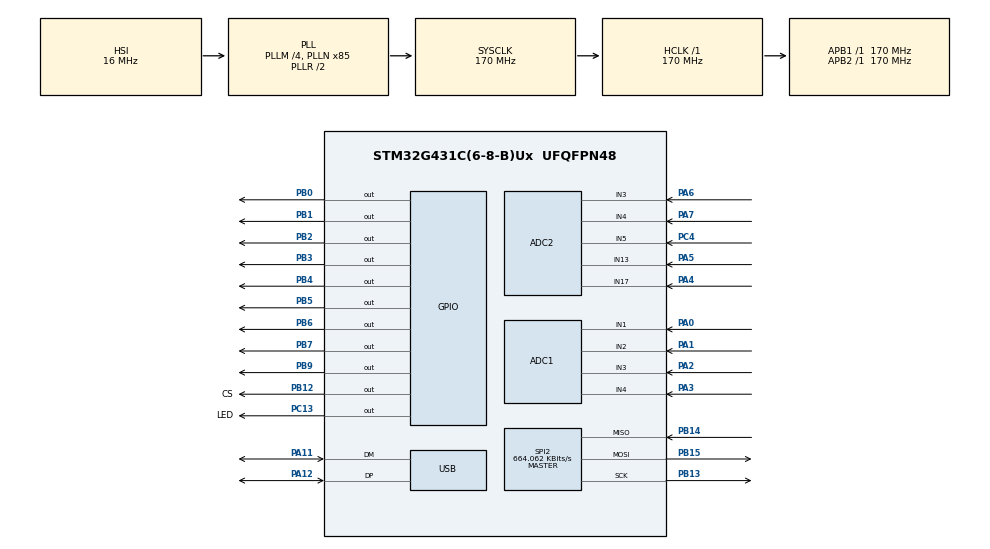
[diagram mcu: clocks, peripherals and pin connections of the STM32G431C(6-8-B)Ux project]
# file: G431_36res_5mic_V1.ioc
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ADC1.Channel-0\#ChannelRegularConversion=ADC_CHANNEL_4
ADC1.Channel-1\#ChannelRegularConversion=ADC_CHANNEL_3
ADC1.Channel-2\#ChannelRegularConversion=ADC_CHANNEL_2
ADC1.Channel-3\#ChannelRegularConversion=ADC_CHANNEL_1
ADC1.ContinuousConvMode=ENABLE
ADC1.DMAContinuousRequests=ENABLE
ADC1.ExternalTrigConv=ADC_SOFTWARE_START
ADC1.ExternalTrigConvEdge=ADC_EXTERNALTRIGCONVEDGE_NONE
ADC1.NbrOfConversion=4
ADC1.NbrOfConversionFlag=1
ADC1.OffsetNumber-0\#ChannelRegularConversion=ADC_OFFSET_NONE
ADC1.OffsetNumber-1\#ChannelRegularConversion=ADC_OFFSET_NONE
ADC1.OffsetNumber-2\#ChannelRegularConversion=ADC_OFFSET_NONE
ADC1.OffsetNumber-3\#ChannelRegularConversion=ADC_OFFSET_NONE
ADC1.Rank-0\#ChannelRegularConversion=1
ADC1.Rank-1\#ChannelRegularConversion=2
ADC1.Rank-2\#ChannelRegularConversion=3
ADC1.Rank-3\#ChannelRegularConversion=4
ADC1.SamplingTime-0\#ChannelRegularConversion=ADC_SAMPLETIME_92CYCLES_5
ADC1.SamplingTime-1\#ChannelRegularConversion=ADC_SAMPLETIME_92CYCLES_5
ADC1.SamplingTime-2\#ChannelRegularConversion=ADC_SAMPLETIME_92CYCLES_5
ADC1.SamplingTime-3\#ChannelRegularConversion=ADC_SAMPLETIME_92CYCLES_5
ADC1.master=1
ADC2.Channel-1\#ChannelRegularConversion=ADC_CHANNEL_4
ADC2.Channel-2\#ChannelRegularConversion=ADC_CHANNEL_17
ADC2.Channel-3\#ChannelRegularConversion=ADC_CHANNEL_3
ADC2.Channel-4\#ChannelRegularConversion=ADC_CHANNEL_5
ADC2.Channel-5\#ChannelRegularConversion=ADC_CHANNEL_13
ADC2.ContinuousConvMode=DISABLE
ADC2.DMAContinuousRequests=ENABLE
ADC2.ExternalTrigConv=ADC_EXTERNALTRIG_T1_CC3
ADC2.NbrOfConversion=5
ADC2.NbrOfConversionFlag=1
ADC2.OffsetNumber-1\#ChannelRegularConversion=ADC_OFFSET_NONE
ADC2.OffsetNumber-2\#ChannelRegularConversion=ADC_OFFSET_NONE
ADC2.OffsetNumber-3\#ChannelRegularConversion=ADC_OFFSET_NONE
ADC2.OffsetNumber-4\#ChannelRegularConversion=ADC_OFFSET_NONE
ADC2.OffsetNumber-5\#ChannelRegularConversion=ADC_OFFSET_NONE
ADC2.Rank-1\#ChannelRegularConversion=1
ADC2.Rank-2\#ChannelRegularConversion=2
ADC2.Rank-3\#ChannelRegularConversion=3
ADC2.Rank-4\#ChannelRegularConversion=4
ADC2.Rank-5\#ChannelRegularConversion=5
ADC2.SamplingTime-1\#ChannelRegularConversion=ADC_SAMPLETIME_640CYCLES_5
ADC2.SamplingTime-2\#ChannelRegularConversion=ADC_SAMPLETIME_640CYCLES_5
ADC2.SamplingTime-3\#ChannelRegularConversion=ADC_SAMPLETIME_640CYCLES_5
ADC2.SamplingTime-4\#ChannelRegularConversion=ADC_SAMPLETIME_640CYCLES_5
ADC2.SamplingTime-5\#ChannelRegularConversion=ADC_SAMPLETIME_640CYCLES_5
Dma.ADC1.1.Direction=DMA_PERIPH_TO_MEMORY
Dma.ADC1.1.EventEnable=DISABLE
Dma.ADC1.1.Instance=DMA2_Channel1
Dma.ADC1.1.MemDataAlignment=DMA_MDATAALIGN_HALFWORD
Dma.ADC1.1.MemInc=DMA_MINC_ENABLE
Dma.ADC1.1.Mode=DMA_CIRCULAR
Dma.ADC1.1.PeriphDataAlignment=DMA_PDATAALIGN_HALFWORD
Dma.ADC1.1.PeriphInc=DMA_PINC_DISABLE
Dma.ADC1.1.Polarity=HAL_DMAMUX_REQ_GEN_RISING
Dma.ADC1.1.Priority=DMA_PRIORITY_LOW
Dma.ADC1.1.RequestNumber=1
Dma.ADC1.1.SignalID=NONE
Dma.ADC1.1.SyncEnable=DISABLE
Dma.ADC1.1.SyncPolarity=HAL_DMAMUX_SYNC_NO_EVENT
Dma.ADC1.1.SyncRequestNumber=1
Dma.ADC1.1.SyncSignalID=NONE
Dma.ADC2.0.Direction=DMA_PERIPH_TO_MEMORY
Dma.ADC2.0.EventEnable=DISABLE
Dma.ADC2.0.Instance=DMA1_Channel1
Dma.ADC2.0.MemDataAlignment=DMA_MDATAALIGN_HALFWORD
Dma.ADC2.0.MemInc=DMA_MINC_ENABLE
Dma.ADC2.0.Mode=DMA_CIRCULAR
Dma.ADC2.0.PeriphDataAlignment=DMA_PDATAALIGN_HALFWORD
Dma.ADC2.0.PeriphInc=DMA_PINC_DISABLE
Dma.ADC2.0.Polarity=HAL_DMAMUX_REQ_GEN_RISING
Dma.ADC2.0.Priority=DMA_PRIORITY_LOW
Dma.ADC2.0.RequestNumber=1
Dma.ADC2.0.SignalID=NONE
Dma.ADC2.0.SyncEnable=DISABLE
Dma.ADC2.0.SyncPolarity=HAL_DMAMUX_SYNC_NO_EVENT
Dma.ADC2.0.SyncRequestNumber=1
Dma.ADC2.0.SyncSignalID=NONE
Dma.MEMTOMEM.2.Direction=DMA_MEMORY_TO_MEMORY
Dma.MEMTOMEM.2.EventEnable=DISABLE
Dma.MEMTOMEM.2.Instance=DMA1_Channel2
Dma.MEMTOMEM.2.MemDataAlignment=DMA_MDATAALIGN_HALFWORD
Dma.MEMTOMEM.2.MemInc=DMA_MINC_ENABLE
Dma.MEMTOMEM.2.Mode=DMA_NORMAL
Dma.MEMTOMEM.2.PeriphDataAlignment=DMA_PDATAALIGN_HALFWORD
Dma.MEMTOMEM.2.PeriphInc=DMA_PINC_ENABLE
Dma.MEMTOMEM.2.Polarity=HAL_DMAMUX_REQ_GEN_RISING
Dma.MEMTOMEM.2.Priority=DMA_PRIORITY_LOW
Dma.MEMTOMEM.2.RequestNumber=1
Dma.MEMTOMEM.2.SignalID=NONE
Dma.MEMTOMEM.2.SyncEnable=DISABLE
Dma.MEMTOMEM.2.SyncPolarity=HAL_DMAMUX_SYNC_NO_EVENT
Dma.MEMTOMEM.2.SyncRequestNumber=1
Dma.MEMTOMEM.2.SyncSignalID=NONE
Dma.Request0=ADC2
Dma.Request1=ADC1
Dma.Request2=MEMTOMEM
Dma.Request3=TIM1_CH1
Dma.TIM1_CH1.3.Direction=DMA_MEMORY_TO_PERIPH
Dma.TIM1_CH1.3.EventEnable=DISABLE
Dma.TIM1_CH1.3.Instance=DMA1_Channel3
Dma.TIM1_CH1.3.MemDataAlignment=DMA_MDATAALIGN_HALFWORD
Dma.TIM1_CH1.3.MemInc=DMA_MINC_ENABLE
Dma.TIM1_CH1.3.Mode=DMA_CIRCULAR
Dma.TIM1_CH1.3.PeriphDataAlignment=DMA_PDATAALIGN_HALFWORD
Dma.TIM1_CH1.3.PeriphInc=DMA_PINC_DISABLE
Dma.TIM1_CH1.3.Polarity=HAL_DMAMUX_REQ_GEN_RISING
Dma.TIM1_CH1.3.Priority=DMA_PRIORITY_LOW
Dma.TIM1_CH1.3.RequestNumber=1
Dma.TIM1_CH1.3.SignalID=NONE
Dma.TIM1_CH1.3.SyncEnable=DISABLE
Dma.TIM1_CH1.3.SyncPolarity=HAL_DMAMUX_SYNC_NO_EVENT
Dma.TIM1_CH1.3.SyncRequestNumber=1
Dma.TIM1_CH1.3.SyncSignalID=NONE
FREERTOS.BinarySemaphores01=usb_tx_BinarySem,Dynamic,NULL
FREERTOS.Events01=adc_dma_Event,Dynamic,NULL
FREERTOS.Tasks01=defaultTask,24,512,StartDefaultTask,Default,NULL,Dynamic,NULL,NULL;ledTask,8,128,LEDTask,Default,NULL,Dynamic,NULL,NULL;resTask,32,128,ResTask,Default,NULL,Dynamic,NULL,NULL;micTask,33,128,MicTask,Default,NULL,Dynamic,NULL,NULL
FREERTOS.configTOTAL_HEAP_SIZE=5120
Mcu.Family=STM32G4
Mcu.Name=STM32G431C(6-8-B)Ux
Mcu.Package=UFQFPN48
NVIC.DMA1_Channel1_IRQn=true\:5\:0\:false\:false\:true\:true\:false\:true\:true
NVIC.PriorityGroup=NVIC_PRIORITYGROUP_4
NVIC.TIM1_TRG_COM_TIM17_IRQn=true\:5\:0\:false\:false\:true\:false\:false\:true\:true
NVIC.TimeBase=TIM1_TRG_COM_TIM17_IRQn
NVIC.TimeBaseIP=TIM17
NVIC.USB_LP_IRQn=true\:5\:0\:false\:false\:true\:true\:false\:true\:true
PA0.Mode=IN1-Single-Ended
PA0.Signal=ADC1_IN1
PA1.Mode=IN2-Single-Ended
PA1.Signal=ADC1_IN2
PA11.Mode=Device
PA11.Signal=USB_DM
PA12.Mode=Device
PA12.Signal=USB_DP
PA13.Mode=Serial_Wire
PA13.Signal=SYS_JTMS-SWDIO
PA14.Mode=Serial_Wire
PA14.Signal=SYS_JTCK-SWCLK
PA2.Mode=IN3-Single-Ended
PA2.Signal=ADC1_IN3
PA3.Mode=IN4-Single-Ended
PA3.Signal=ADC1_IN4
PA4.Mode=IN17-Single-Ended
PA4.Signal=ADC2_IN17
PA5.Mode=IN13-Single-Ended
PA5.Signal=ADC2_IN13
PA6.Mode=IN3-Single-Ended
PA6.Signal=ADC2_IN3
PA7.Mode=IN4-Single-Ended
PA7.Signal=ADC2_IN4
PB0.GPIO_ModeDefaultOutputPP=GPIO_MODE_OUTPUT_PP
PB0.GPIO_PuPd=GPIO_PULLUP
PB0.GPIO_Speed=GPIO_SPEED_FREQ_VERY_HIGH
PB0.PinState=GPIO_PIN_SET
PB0.Signal=GPIO_Output
PB1.GPIO_ModeDefaultOutputPP=GPIO_MODE_OUTPUT_PP
PB1.GPIO_PuPd=GPIO_PULLUP
PB1.GPIO_Speed=GPIO_SPEED_FREQ_VERY_HIGH
PB1.PinState=GPIO_PIN_SET
PB1.Signal=GPIO_Output
PB12.GPIO_Label=CS
PB12.GPIO_PuPd=GPIO_PULLUP
PB12.GPIO_Speed=GPIO_SPEED_FREQ_VERY_HIGH
PB12.PinState=GPIO_PIN_SET
PB12.Signal=GPIO_Output
PB13.Mode=Full_Duplex_Master
PB13.Signal=SPI2_SCK
PB14.Mode=Full_Duplex_Master
PB14.Signal=SPI2_MISO
PB15.Mode=Full_Duplex_Master
PB15.Signal=SPI2_MOSI
PB2.GPIO_ModeDefaultOutputPP=GPIO_MODE_OUTPUT_PP
PB2.GPIO_PuPd=GPIO_PULLUP
PB2.GPIO_Speed=GPIO_SPEED_FREQ_VERY_HIGH
PB2.PinState=GPIO_PIN_SET
PB2.Signal=GPIO_Output
PB3.GPIO_ModeDefaultOutputPP=GPIO_MODE_OUTPUT_PP
PB3.GPIO_PuPd=GPIO_PULLUP
PB3.GPIO_Speed=GPIO_SPEED_FREQ_VERY_HIGH
PB3.PinState=GPIO_PIN_SET
PB3.Signal=GPIO_Output
PB4.GPIO_ModeDefaultOutputPP=GPIO_MODE_OUTPUT_PP
PB4.GPIO_PuPd=GPIO_PULLUP
PB4.GPIO_Speed=GPIO_SPEED_FREQ_VERY_HIGH
PB4.PinState=GPIO_PIN_SET
PB4.Signal=GPIO_Output
PB5.GPIO_ModeDefaultOutputPP=GPIO_MODE_OUTPUT_PP
PB5.GPIO_PuPd=GPIO_PULLUP
PB5.GPIO_Speed=GPIO_SPEED_FREQ_VERY_HIGH
PB5.PinState=GPIO_PIN_SET
PB5.Signal=GPIO_Output
PB6.GPIO_ModeDefaultOutputPP=GPIO_MODE_OUTPUT_PP
PB6.GPIO_PuPd=GPIO_PULLUP
PB6.GPIO_Speed=GPIO_SPEED_FREQ_VERY_HIGH
PB6.PinState=GPIO_PIN_SET
PB6.Signal=GPIO_Output
PB7.GPIO_ModeDefaultOutputPP=GPIO_MODE_OUTPUT_PP
PB7.GPIO_PuPd=GPIO_PULLUP
PB7.GPIO_Speed=GPIO_SPEED_FREQ_VERY_HIGH
PB7.PinState=GPIO_PIN_SET
PB7.Signal=GPIO_Output
PB9.GPIO_ModeDefaultOutputPP=GPIO_MODE_OUTPUT_PP
PB9.GPIO_PuPd=GPIO_PULLUP
PB9.GPIO_Speed=GPIO_SPEED_FREQ_VERY_HIGH
PB9.PinState=GPIO_PIN_SET
PB9.Signal=GPIO_Output
PC13.GPIO_Label=LED
PC13.GPIO_PuPd=GPIO_PULLUP
PC13.PinState=GPIO_PIN_SET
PC13.Signal=GPIO_Output
PC4.Mode=IN5-Single-Ended
PC4.Signal=ADC2_IN5
PF0-OSC_IN.Mode=HSE-External-Oscillator
PF0-OSC_IN.Signal=RCC_OSC_IN
PF1-OSC_OUT.Mode=HSE-External-Oscillator
PF1-OSC_OUT.Signal=RCC_OSC_OUT
ProjectManager.HeapSize=0x100
ProjectManager.StackSize=0x1000
ProjectManager.TargetToolchain=MDK-ARM V5.32
RCC.ADC12Freq_Value=170000000
RCC.AHBFreq_Value=170000000
RCC.APB1Freq_Value=170000000
RCC.APB1TimFreq_Value=170000000
RCC.APB2Freq_Value=170000000
RCC.APB2TimFreq_Value=170000000
RCC.CK48CLockSelection=RCC_USBCLKSOURCE_HSI48
RCC.CortexFreq_Value=170000000
RCC.EXTERNAL_CLOCK_VALUE=12288000
RCC.HCLKFreq_Value=170000000
RCC.HSE_VALUE=8000000
RCC.HSI48_VALUE=48000000
RCC.HSI_VALUE=16000000
RCC.LSE_VALUE=32768
RCC.PLLM=RCC_PLLM_DIV4
RCC.PLLN=85
RCC.SYSCLKFreq_VALUE=170000000
RCC.SYSCLKSource=RCC_SYSCLKSOURCE_PLLCLK
RCC.USBFreq_Value=48000000
RCC.VCOOutputFreq_Value=340000000
SPI2.BaudRatePrescaler=SPI_BAUDRATEPRESCALER_256
SPI2.CalculateBaudRate=664.062 KBits/s
SPI2.DataSize=SPI_DATASIZE_8BIT
SPI2.Direction=SPI_DIRECTION_2LINES
SPI2.Mode=SPI_MODE_MASTER
SPI2.VirtualType=VM_MASTER
TIM1.AutoReloadPreload=TIM_AUTORELOAD_PRELOAD_ENABLE
TIM1.Channel-PWM\ Generation1\ No\ Output=TIM_CHANNEL_1
TIM1.Channel-PWM\ Generation2\ No\ Output=TIM_CHANNEL_2
TIM1.Channel-PWM\ Generation3\ No\ Output=TIM_CHANNEL_3
TIM1.PeriodNoDither=99
TIM1.Prescaler=167
TIM1.PulseNoDither_1=5
TIM1.PulseNoDither_2=60
TIM1.PulseNoDither_3=50
TIM1.TIM_MasterOutputTrigger=TIM_TRGO_OC1REF
TIM1.TIM_MasterOutputTrigger2=TIM_TRGO2_OC2REF
TIM6.PeriodNoDither=99
TIM6.Prescaler=169
TIM6.TIM_MasterOutputTrigger=TIM_TRGO_UPDATE
TIM7.Prescaler=169
USB_DEVICE.CLASS_NAME_FS=CDC
USB_DEVICE.VirtualMode=Cdc
USB_DEVICE.VirtualModeFS=Cdc_FS
VP_FREERTOS_VS_CMSIS_V2.Mode=CMSIS_V2
VP_SYS_VS_DBSignals.Mode=DisableDeadBatterySignals
VP_SYS_VS_tim17.Mode=TIM17
VP_TIM1_VS_ClockSourceINT.Mode=Internal
VP_TIM1_VS_no_output1.Mode=PWM Generation1 No Output
VP_TIM1_VS_no_output2.Mode=PWM Generation2 No Output
VP_TIM1_VS_no_output3.Mode=PWM Generation3 No Output
VP_TIM6_VS_ClockSourceINT.Mode=Enable_Timer
VP_TIM7_VS_ClockSourceINT.Mode=Enable_Timer
VP_USB_DEVICE_VS_USB_DEVICE_CDC_FS.Mode=CDC_FS
board=custom

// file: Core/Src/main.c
/* USER CODE BEGIN Header */
/**
  ******************************************************************************
  * @file           : main.c
  * @brief          : Main program body
  ******************************************************************************
  * @attention
  *
  * Copyright (c) 2025 STMicroelectronics.
  * All rights reserved.
  *
  * This software is licensed under terms that can be found in the LICENSE file
  * in the root directory of this software component.
  * If no LICENSE file comes with this software, it is provided AS-IS.
  *
  ******************************************************************************
  */
/* USER CODE END Header */
#include "main.h"
#include "cmsis_os.h"
#include "adc.h"
#include "dma.h"
#include "spi.h"
#include "tim.h"
#include "usb_device.h"
#include "gpio.h"

void SystemClock_Config(void);
void MX_FREERTOS_Init(void);

int main(void)
{

  /* MCU Configuration--------------------------------------------------------*/

  /* Reset of all peripherals, Initializes the Flash interface and the Systick. */
  HAL_Init();

  /* Configure the system clock */
  SystemClock_Config();

  /* Initialize all configured peripherals */
  MX_GPIO_Init();
  MX_DMA_Init();
  MX_USB_Device_Init();
  MX_TIM7_Init();
  MX_SPI2_Init();
  MX_ADC1_Init();
  MX_ADC2_Init();
  MX_TIM6_Init();
  MX_TIM1_Init();
  /* USER CODE BEGIN 2 */
  LL_TIM_SetCounter(TIM7, 0);
//	LL_TIM_EnableIT_UPDATE(TIM7);//start TIM7 IRQ
	LL_TIM_EnableCounter(TIM7);//Enable TIM7
  /* USER CODE END 2 */

  /* Init scheduler */
  osKernelInitialize();  /* Call init function for freertos objects (in freertos.c) */
  MX_FREERTOS_Init();

  /* Start scheduler */
  osKernelStart();

  /* We should never get here as control is now taken by the scheduler */
  /* Infinite loop */
  while (1)
  {

  }
}

void SystemClock_Config(void)
{
  RCC_OscInitTypeDef RCC_OscInitStruct = {0};
  RCC_ClkInitTypeDef RCC_ClkInitStruct = {0};

  /** Configure the main internal regulator output voltage
  */
  HAL_PWREx_ControlVoltageScaling(PWR_REGULATOR_VOLTAGE_SCALE1_BOOST);

  /** Initializes the RCC Oscillators according to the specified parameters
  * in the RCC_OscInitTypeDef structure.
  */
  RCC_OscInitStruct.OscillatorType = RCC_OSCILLATORTYPE_HSI|RCC_OSCILLATORTYPE_HSI48;
  RCC_OscInitStruct.HSIState = RCC_HSI_ON;
  RCC_OscInitStruct.HSICalibrationValue = RCC_HSICALIBRATION_DEFAULT;
  RCC_OscInitStruct.HSI48State = RCC_HSI48_ON;
  RCC_OscInitStruct.PLL.PLLState = RCC_PLL_ON;
  RCC_OscInitStruct.PLL.PLLSource = RCC_PLLSOURCE_HSI;
  RCC_OscInitStruct.PLL.PLLM = RCC_PLLM_DIV4;
  RCC_OscInitStruct.PLL.PLLN = 85;
  RCC_OscInitStruct.PLL.PLLP = RCC_PLLP_DIV2;
  RCC_OscInitStruct.PLL.PLLQ = RCC_PLLQ_DIV2;
  RCC_OscInitStruct.PLL.PLLR = RCC_PLLR_DIV2;
  if (HAL_RCC_OscConfig(&RCC_OscInitStruct) != HAL_OK)
  {
    Error_Handler();
  }

  /** Initializes the CPU, AHB and APB buses clocks
  */
  RCC_ClkInitStruct.ClockType = RCC_CLOCKTYPE_HCLK|RCC_CLOCKTYPE_SYSCLK
                              |RCC_CLOCKTYPE_PCLK1|RCC_CLOCKTYPE_PCLK2;
  RCC_ClkInitStruct.SYSCLKSource = RCC_SYSCLKSOURCE_PLLCLK;
  RCC_ClkInitStruct.AHBCLKDivider = RCC_SYSCLK_DIV1;
  RCC_ClkInitStruct.APB1CLKDivider = RCC_HCLK_DIV1;
  RCC_ClkInitStruct.APB2CLKDivider = RCC_HCLK_DIV1;

  if (HAL_RCC_ClockConfig(&RCC_ClkInitStruct, FLASH_LATENCY_4) != HAL_OK)
  {
    Error_Handler();
  }
}

void HAL_TIM_PeriodElapsedCallback(TIM_HandleTypeDef *htim)
{
  if (htim->Instance == TIM17) {
    HAL_IncTick();
  }
}

void Error_Handler(void)
{
  __disable_irq();
  while (1)
  {
  }
}

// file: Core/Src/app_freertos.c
/* USER CODE BEGIN Header */
/**
  ******************************************************************************
  * File Name          : app_freertos.c
  * Description        : Code for freertos applications
  ******************************************************************************
  * @attention
  *
  * Copyright (c) 2025 STMicroelectronics.
  * All rights reserved.
  *
  * This software is licensed under terms that can be found in the LICENSE file
  * in the root directory of this software component.
  * If no LICENSE file comes with this software, it is provided AS-IS.
  *
  ******************************************************************************
  */
/* USER CODE END Header */

#include "FreeRTOS.h"
#include "task.h"
#include "main.h"
#include "cmsis_os.h"

/* USER CODE BEGIN Includes */
#include "event_groups.h"
/* USER CODE END Includes */

/* Definitions for defaultTask */
osThreadId_t defaultTaskHandle;
const osThreadAttr_t defaultTask_attributes = {
  .name = "defaultTask",
  .priority = (osPriority_t) osPriorityNormal,
  .stack_size = 512 * 4
};
/* Definitions for ledTask */
osThreadId_t ledTaskHandle;
const osThreadAttr_t ledTask_attributes = {
  .name = "ledTask",
  .priority = (osPriority_t) osPriorityLow,
  .stack_size = 128 * 4
};
/* Definitions for resTask */
osThreadId_t resTaskHandle;
const osThreadAttr_t resTask_attributes = {
  .name = "resTask",
  .priority = (osPriority_t) osPriorityAboveNormal,
  .stack_size = 128 * 4
};
/* Definitions for micTask */
osThreadId_t micTaskHandle;
const osThreadAttr_t micTask_attributes = {
  .name = "micTask",
  .priority = (osPriority_t) osPriorityAboveNormal1,
  .stack_size = 128 * 4
};
/* Definitions for usb_tx_BinarySem */
osSemaphoreId_t usb_tx_BinarySemHandle;
const osSemaphoreAttr_t usb_tx_BinarySem_attributes = {
  .name = "usb_tx_BinarySem"
};
/* Definitions for adc_dma_Event */
osEventFlagsId_t adc_dma_EventHandle;
const osEventFlagsAttr_t adc_dma_Event_attributes = {
  .name = "adc_dma_Event"
};

void StartDefaultTask(void *argument);
void LEDTask(void *argument);
void ResTask(void *argument);
void MicTask(void *argument);

void MX_FREERTOS_Init(void); /* (MISRA C 2004 rule 8.1) */

void MX_FREERTOS_Init(void) {

  /* Create the semaphores(s) */
  /* creation of usb_tx_BinarySem */
  usb_tx_BinarySemHandle = osSemaphoreNew(1, 1, &usb_tx_BinarySem_attributes);

  /* USER CODE BEGIN RTOS_SEMAPHORES */
	if (usb_tx_BinarySemHandle != NULL) {
    osSemaphoreAcquire(usb_tx_BinarySemHandle, 0);  // 超时0，立即尝试获取
  }
  /* add semaphores, ... */
  /* USER CODE END RTOS_SEMAPHORES */

  /* Create the thread(s) */
  /* creation of defaultTask */
  defaultTaskHandle = osThreadNew(StartDefaultTask, NULL, &defaultTask_attributes);

  /* creation of ledTask */
  ledTaskHandle = osThreadNew(LEDTask, NULL, &ledTask_attributes);

  /* creation of resTask */
  resTaskHandle = osThreadNew(ResTask, NULL, &resTask_attributes);

  /* creation of micTask */
  micTaskHandle = osThreadNew(MicTask, NULL, &micTask_attributes);

  /* Create the event(s) */
  /* creation of adc_dma_Event */
  adc_dma_EventHandle = osEventFlagsNew(&adc_dma_Event_attributes);

}

/* USER CODE BEGIN Header_StartDefaultTask */
/**
  * @brief  Function implementing the defaultTask thread.
  * @param  argument: Not used
  * @retval None
  */
// 事件标志宏定义（5个ADC，每个有半满和全满事件）
#define EVENT_MIC_DMA_HALF  (0x0001UL)  // ADC2半满
#define EVENT_MIC_DMA_FULL  (0x0002UL)  // ADC2全满
#define EVENT_RES_DMA_HALF  (0x0004UL)  // ADC1半满
#define EVENT_RES_DMA_FULL  (0x0008UL)  // ADC1全满

#define FRAME_HEAD_CNT 2    // 帧头数量
#define FRAME_TAIL_CNT 2    // 帧尾数量

Sample_total_Data_Union sample_buf[2];

//#define PACK_FRAME 100
uint16_t mic_value[1000];//500 * 2

volatile Word_union* mic_send_p= sample_buf[0].mic_data;
volatile Word_union* mic_store_p= sample_buf[1].mic_data;

uint16_t res_value_dma[720];//360 * 2
uint16_t res_value[36];
volatile Word_union* res_send_p= sample_buf[0].res_data;
volatile Word_union* res_store_p= sample_buf[1].res_data;

uint8_t frame_head[4]={0x55,0xAA,0xBB,0xCC};
uint8_t frame_tail[4]={0xAA,0x55,0x66,0x77};

// 模拟开关控制值表（对应index 1~9，最后补0xFFFB循环触发）
const uint16_t switch_odr_table[] = {
  0xFFFB, // index 1：PB2=0
  0xFFFD, // index 2：PB1=0
  0xFFFE, // index 3：PB0=0
  0xFFDF, // index 4：PB5=0
  0xFFEF, // index 5：PB4=0
  0xFFF7, // index 6：PB3=0
  0xFDFF, // index 7：PB9=0
  0xFF7F, // index 8：PB7=0
  0xFFBF  // index 9：PB6=0
};
#define SWITCH_CNT 9 // 模拟开关数量
#define SWITCH_TABLE_LEN (SWITCH_CNT)

//电压采集完成之后需要进行缓存切换
void exchange_res_p(void)
{
	static uint8_t state=1;//第一次运行该函数前 采集的数据存到res_data_2   第一次运行该函数后状态变为0，发送的指针指向res_data_1  之后循环往复
	state=!state;

	if(state)
	{
		res_send_p=sample_buf[0].res_data;
		res_store_p=sample_buf[1].res_data;
	}
	else
	{
		res_send_p=sample_buf[1].res_data;
		res_store_p=sample_buf[0].res_data;
	}
}
char usb_buff[128]={0};
/* USER CODE END Header_StartDefaultTask */
void StartDefaultTask(void *argument)
{
  /* USER CODE BEGIN StartDefaultTask */

  /* Infinite loop */
	for(;;)
	{
//		HAL_GPIO_TogglePin(LED_GPIO_Port,LED_Pin);
//		sprintf(usb_buff,"MIC1:%d\r\nMIC2:%d\r\nMIC3:%d\r\nMIC4:%d\r\nMIC5:%d\r\n\r\n",mic_value[0],mic_value[1],mic_value[2],mic_value[3],mic_value[4]);
//		CDC_Transmit_FS((uint8_t *)usb_buff,strlen(usb_buff));
		osDelay(100);

	}
  /* USER CODE END StartDefaultTask */
}

void LEDTask(void *argument)
{
  /* USER CODE BEGIN LEDTask */
	TickType_t xLastWakeTime;
	xLastWakeTime = xTaskGetTickCount();
  /* Infinite loop */
	for(;;)
	{
		HAL_GPIO_TogglePin(LED_GPIO_Port,LED_Pin);
		vTaskDelayUntil(&xLastWakeTime, pdMS_TO_TICKS(100));
	}
  /* USER CODE END LEDTask */
}

void ResTask(void *argument)
{
  /* USER CODE BEGIN ResTask */
	AD5206_SetResistance(0, 50);
	AD5206_SetResistance(1, 50);
	AD5206_SetResistance(2, 50);
	AD5206_SetResistance(4, 50);//参考电压
	AD5206_SetResistance(5, 50);

	for(uint16_t i=0; i<360; i++) {
		sample_buf[0].res_data[i].word16 = i*1 + 1;
	}
	for(uint16_t i=0; i<360; i++) {
		sample_buf[1].res_data[i].word16 = i*2 + 2;
	}

	HAL_ADCEx_Calibration_Start(&hadc1,ADC_SINGLE_ENDED);
	HAL_ADC_Start_DMA(&hadc1, (uint32_t *)res_value, 4);

	TickType_t xLastWakeTime;
	xLastWakeTime = xTaskGetTickCount();
	uint32_t ulReceivedEvents;          // 接收的事件标志
	uint16_t* send_res_p=res_value_dma;

	uint8_t USB_result = USBD_OK;
  /* Infinite loop */
	for(;;)
	{
		for(uint8_t j=0;j<10;j++)//10帧发送一次
		{
			for(uint8_t i=1;i<10;i++)//修改为定时器PWM模式 计数频率100kHz，周期10KHz，CNT与CC1=0相等时DMA控制GPIO_ODR控制模拟开关，然后CNT与CC2=1相等时(相当于延时10us)开启ADC-DMA转换
			{
				Select_switcher(i);
				user_delaynus_tim(70);
				res_store_p[j*36+(i-1)*4+0].word16=res_value[0];
				res_store_p[j*36+(i-1)*4+1].word16=res_value[1];
				res_store_p[j*36+(i-1)*4+2].word16=res_value[2];
				res_store_p[j*36+(i-1)*4+3].word16=res_value[3];
			}
				vTaskDelayUntil(&xLastWakeTime, pdMS_TO_TICKS(1));
		}
		exchange_res_p();//切换缓存区

//		if (CDC_Transmit_FS(frame_head, 4) == USBD_OK)
//		{
//			// 等待发送完成（超时时间可根据需求设置）
//			osSemaphoreAcquire(usb_tx_BinarySemHandle, osWaitForever);  // 阻塞等待，CPU可调度其他任务
//		}
//		if (CDC_Transmit_FS(res_send_p->byte, 720) == USBD_OK)
//		{
//			// 等待发送完成（超时时间可根据需求设置）
//			osSemaphoreAcquire(usb_tx_BinarySemHandle, osWaitForever);  // 阻塞等待，CPU可调度其他任务
//		}
//		if (CDC_Transmit_FS(frame_tail, 4) == USBD_OK)
//		{
//			// 等待发送完成（超时时间可根据需求设置）
//			osSemaphoreAcquire(usb_tx_BinarySemHandle, osWaitForever);  // 阻塞等待，CPU可调度其他任务
//		}

	}
  /* USER CODE END ResTask */
}

void MicTask(void *argument)
{
  /* USER CODE BEGIN MicTask */
	HAL_TIM_Base_Start(&htim6);
	HAL_ADCEx_Calibration_Start(&hadc2,ADC_SINGLE_ENDED);
	HAL_ADC_Start_DMA(&hadc2, (uint32_t *)mic_value, 1000);

//	// 确认TIM1_CH3和计数器已启动（防止初始化时遗漏）
	TIM_CCxChannelCmd(htim1.Instance, TIM_CHANNEL_3, TIM_CCx_ENABLE);

	__HAL_TIM_MOE_ENABLE(&htim1);
	__HAL_TIM_ENABLE(&htim1);

	TickType_t xLastWakeTime;
	xLastWakeTime = xTaskGetTickCount();
	uint32_t ulReceivedEvents;          // 接收的事件标志

	uint8_t USB_result = USBD_OK;
	uint16_t* send_mic_p=mic_value;
  /* Infinite loop */
	for(;;)
	{
		// 等待：ADC半满 或 ADC全满（任意一组满足即响应）
		ulReceivedEvents = osEventFlagsWait(
		  adc_dma_EventHandle,            // 事件组句柄（你的原有定义）
		  EVENT_MIC_DMA_HALF | EVENT_MIC_DMA_FULL, // 等待的事件组合      EVENT_ALL_HALF | EVENT_ALL_FULL  EVENT_ADC5_DMA_HALF | EVENT_ADC5_DMA_FULL
		  osFlagsWaitAny,                 // 任意事件满足即返回
		  osWaitForever                    // 永久等待（直到事件触发）
		);

		if (ulReceivedEvents & EVENT_MIC_DMA_HALF)//EVENT_ADC5_DMA_HALF  EVENT_ALL_HALF
		{
			  send_mic_p = mic_value;
			  // 清除所有半满事件标志（避免重复处理）
			osEventFlagsClear(adc_dma_EventHandle, EVENT_MIC_DMA_HALF);
		}
		else if (ulReceivedEvents & EVENT_MIC_DMA_FULL)//EVENT_ADC5_DMA_FULL  EVENT_ALL_FULL
		{
			send_mic_p = mic_value+500;
			  // 清除所有全满事件标志
			osEventFlagsClear(adc_dma_EventHandle, EVENT_MIC_DMA_FULL);
		}

		if (CDC_Transmit_FS(frame_head, 4) == USBD_OK)
		{
			// 等待发送完成（超时时间可根据需求设置）
			osSemaphoreAcquire(usb_tx_BinarySemHandle, osWaitForever);  // 阻塞等待，CPU可调度其他任务
		}
		if (CDC_Transmit_FS((uint8_t *)send_mic_p, 1000) == USBD_OK)
		{
			// 等待发送完成（超时时间可根据需求设置）
			osSemaphoreAcquire(usb_tx_BinarySemHandle, osWaitForever);  // 阻塞等待，CPU可调度其他任务
		}
		if (CDC_Transmit_FS(frame_tail, 4) == USBD_OK)
		{
			// 等待发送完成（超时时间可根据需求设置）
			osSemaphoreAcquire(usb_tx_BinarySemHandle, osWaitForever);  // 阻塞等待，CPU可调度其他任务
		}

	}
  /* USER CODE END MicTask */
}

/* USER CODE BEGIN Application */
void user_delaynus_tim(uint16_t nus)
{

	LL_TIM_SetCounter(TIM7, 0);
	while (LL_TIM_GetCounter(TIM7) < nus)
	{
		;// Optionally, add a timeout condition here to avoid an infinite loop
	}
}

/* USER CODE BEGIN Application */
// 设置AD5206的电阻值
// channel: 0~5
// resistance: 0~255
void AD5206_SetResistance(uint8_t channel, uint8_t resistance) {
		uint8_t spi_data[2]={0x00,10};

    // 确保通道和电阻值在有效范围内
    if (channel > 5) return; // AD5206有6个通道，通道号从0到5
    if (resistance > 255) return; // 电阻值应在0到255之间

	HAL_GPIO_WritePin(CS_GPIO_Port,CS_Pin,0);

	spi_data[0]=channel;
	spi_data[1]=resistance;

	HAL_SPI_Transmit(&hspi2,spi_data,2,0xffff);
	osDelay(5);
	HAL_GPIO_WritePin(CS_GPIO_Port,CS_Pin,1);
}
void Select_switcher(uint8_t index)
{
    // 2. 根据index设置目标引脚为低，其他控制引脚为高
    switch(index)
    {
        case 1:  // 选通PB2（bit2=0）0xFFFB
			GPIOB->ODR = 0xFFFB;
            break;
        case 2:  // 选通PB1（bit1=0）0xFFFD
			GPIOB->ODR = 0xFFFD;
            break;
        case 3:  // 选通PB0（bit0=0）0xFFFE
			GPIOB->ODR = 0xFFFE;
            break;
        case 4:  // 选通PB5（bit5=0）0xFFDF
			GPIOB->ODR = 0xFFDF;
            break;
        case 5:  // 选通PB4（bit4=0）0xFFEF
			GPIOB->ODR = 0xFFEF;
            break;
        case 6:  // 选通PB3（bit3=0）0xFFF7
			GPIOB->ODR = 0xFFF7;
            break;
        case 7:  // 选通PB9（bit9=0）0xFDFF
			GPIOB->ODR = 0xFDFF;//1111 1101 1111 1111
            break;
        case 8:  // 选通PB7（bit7=0）0xFF7F
			GPIOB->ODR = 0xFF7F;//1111 1111 0111 1111
            break;
        case 9:  // 选通PB6（bit6=0）0xFFBF
			GPIOB->ODR = 0xFFBF;//1111 1111 1011 1111
            break;
        default: // 默认：所有控制引脚为高（不选通任何路）
            GPIOB->ODR = 0xFFFF; // 0x3FF（1111111111）
            break;
    }
}

void HAL_ADC_ConvCpltCallback(ADC_HandleTypeDef *hadc)
{
	BaseType_t xHigherPriorityTaskWoken = pdFALSE;
	EventGroupHandle_t xEventGroup = (EventGroupHandle_t)adc_dma_EventHandle; // 转换句柄类型
	if(hadc == & hadc1)
	{
		xEventGroupSetBitsFromISR(
		  xEventGroup,          // 事件组句柄（转换后）
		  EVENT_RES_DMA_FULL,  // 要设置的事件标志
		  &xHigherPriorityTaskWoken  // 输出参数：是否需要切换任务
		);
	}
	else if(hadc == & hadc2)
	{
		xEventGroupSetBitsFromISR(
		  xEventGroup,          // 事件组句柄（转换后）
		  EVENT_MIC_DMA_FULL,  // 要设置的事件标志
		  &xHigherPriorityTaskWoken  // 输出参数：是否需要切换任务
		);
	}
	portYIELD_FROM_ISR(xHigherPriorityTaskWoken);
}

void HAL_ADC_ConvHalfCpltCallback(ADC_HandleTypeDef *hadc)
{
	BaseType_t xHigherPriorityTaskWoken = pdFALSE;
	EventGroupHandle_t xEventGroup = (EventGroupHandle_t)adc_dma_EventHandle; // 转换句柄类型
	if(hadc == & hadc1)
	{
		xEventGroupSetBitsFromISR(
		  xEventGroup,          // 事件组句柄（转换后）
		  EVENT_RES_DMA_HALF,  // 要设置的事件标志
		  &xHigherPriorityTaskWoken  // 输出参数：是否需要切换任务
		);
	}
	else if(hadc == & hadc2)
	{
		xEventGroupSetBitsFromISR(
		  xEventGroup,          // 事件组句柄（转换后）
		  EVENT_MIC_DMA_HALF,  // 要设置的事件标志
		  &xHigherPriorityTaskWoken  // 输出参数：是否需要切换任务
		);
	}
	portYIELD_FROM_ISR(xHigherPriorityTaskWoken);
}
/* USER CODE END Application */
